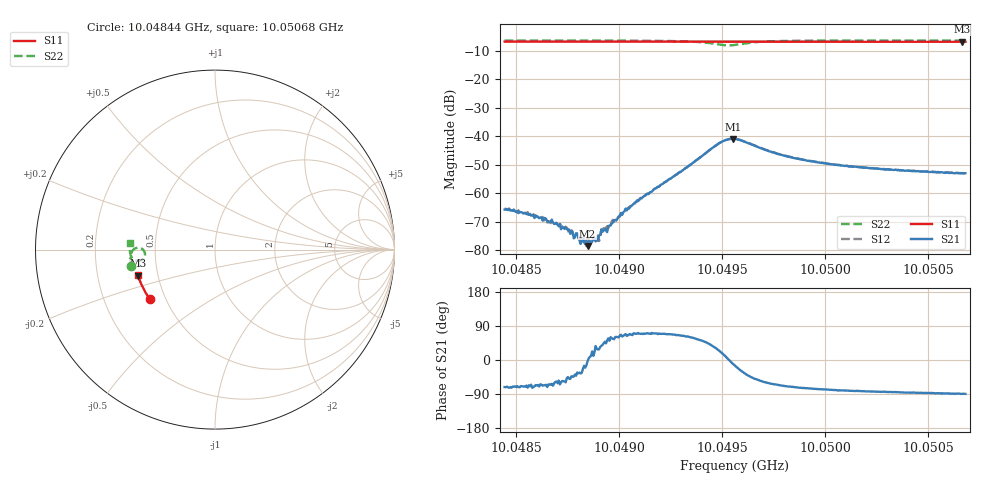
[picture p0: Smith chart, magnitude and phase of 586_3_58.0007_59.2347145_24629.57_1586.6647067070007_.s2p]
#  HZ  S  RI  R  50.00
! Rohde & Schwarz Vector Network Analyzer
! Rohde-Schwarz,ZNB20-2Port,1311601062101988,3.16
! Created: UTC 3/21/2024, 1:16:38 AM
! freq[Hz]  re:S11  im:S11  re:S21  im:S21  re:S12  im:S12  re:S22  im:S22
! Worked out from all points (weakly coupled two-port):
!   401 points, 10.04844 GHz to 10.05068 GHz, reference 50 ohm
!   highest |S21| = -40.95 dB at 10.04955 GHz (marker M1); lowest = -78.5 dB at 10.04885 GHz (marker M2)
!   lowest |S11| = -6.9 dB at 10.05066 GHz (marker M3), VSWR 2.65, Z = 19.3 - j7.04 ohm
!   |S11| at or under -10 dB: nowhere
!   |S22| runs from -8.2 to -6.4 dB; largest |S21 - S12| = 0.00065
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1.0048445e10  -0.3641 -0.2749  0.000163 -0.000487  0.000198 -0.000492  -0.4685 -0.0892
1.0048618e10  -0.3705 -0.2655  0.000163 -0.000336  0.000178 -0.000367  -0.4704 -0.0766
1.0048646e10  -0.3715 -0.2639  0.000148 -0.000322  0.000155 -0.000334  -0.4704 -0.0746
1.0048685e10  -0.373 -0.2618  0.000137 -0.000253  0.000148 -0.000259  -0.4709 -0.0716
1.0048746e10  -0.3752 -0.2584  0.000158 -0.000175  0.000145 -0.000199  -0.4712 -0.0666
1.0048774e10  -0.3761 -0.2569  0.000151 -0.000149  0.000138 -0.000134  -0.4714 -0.0645
1.0048797e10  -0.3769 -0.2556  0.000165 -0.000107  0.000161 -0.000117  -0.4715 -0.0626
1.0048819e10  -0.3778 -0.2543  0.000125 -8.33e-05  0.000157 -4.72e-05  -0.4716 -0.0609
1.0048847e10  -0.3788 -0.253  0.000118 -7.04e-06  0.00016 -2.9e-06  -0.4718 -0.0587
1.0048897e10  -0.3805 -0.25  0.000129 6.78e-05  0.000161 8.44e-05  -0.4718 -0.0543
1.0048925e10  -0.3815 -0.2484  0.000158 0.000153  0.000159 0.000185  -0.4718 -0.0518
1.0048948e10  -0.3822 -0.247  0.000141 0.000217  0.000131 0.000206  -0.4717 -0.05
1.0049037e10  -0.3853 -0.242  0.000221 0.000442  0.00019 0.000495  -0.4714 -0.0417
1.0049194e10  -0.3904 -0.2331  0.000449 0.00122  0.000392 0.00125  -0.4687 -0.0244
1.0049485e10  -0.3987 -0.2159  0.00676 0.00317  0.00654 0.00357  -0.4062 0.00414
1.0049552e10  -0.4004 -0.2124  0.00884 -0.0015  0.00896 -0.000859  -0.3921 -0.0389
1.0049563e10  -0.4007 -0.212  0.00861 -0.00231  0.00879 -0.00174  -0.3955 -0.0461
1.0049775e10  -0.4073 -0.1998  0.00195 -0.00441  0.00223 -0.00431  -0.4633 -0.0437
1.0049938e10  -0.4118 -0.1899  0.000893 -0.00351  0.00109 -0.00346  -0.472 -0.0225
1.0050312e10  -0.421 -0.1671  0.000255 -0.00257  0.000388 -0.00258  -0.4753 0.0116
1.0050665e10  -0.4284 -0.1451  3.02e-05 -0.00226  0.000179 -0.00224  -0.4743 0.0381
1.0050681e10  -0.4288 -0.1443  2.11e-05 -0.00223  0.000157 -0.00222  -0.4741 0.0394
